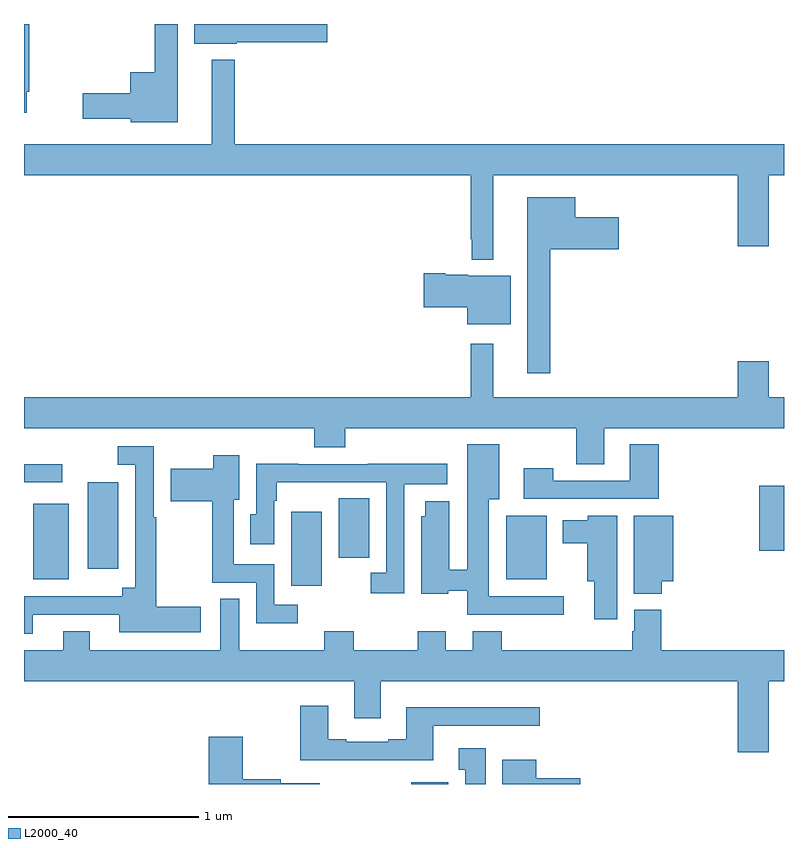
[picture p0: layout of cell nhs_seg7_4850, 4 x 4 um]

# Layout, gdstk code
import gdstk
lib = gdstk.Library(unit=1e-6, precision=1e-09)
def R(c, l, rs):  # rectangles x0, y0, x1, y1
    for r in rs: c.add(gdstk.rectangle(r[:2], r[2:], *l))
def P(c, l, *ps):  # polygons
    for p in ps: c.add(gdstk.Polygon(p, *l))
L2000_40 = (2000, 40)

nhs_seg7_4850 = lib.new_cell('nhs_seg7_4850')
R(nhs_seg7_4850, L2000_40, [(415.037,1076,415.234,1076.008), (414.407,1077.044,414.568,1077.433), (413.048,1077.077,413.236,1077.475), (415.538,1077.077,415.75,1077.412), (413.336,1077.132,413.497,1077.589), (414.656,1077.192,414.817,1077.503), (416.87,1077.227,417,1077.571), (413,1077.588,413.2,1077.684)])
P(nhs_seg7_4850, L2000_40, [(413.809,1080),(413.688,1080),(413.688,1079.746),(413.558,1079.746),(413.558,1079.636),(413.31,1079.636),(413.31,1079.501),(413.562,1079.501),(413.562,1079.483),(413.809,1079.483)],
  [(413.014,1079.644),(413.027,1079.644),(413.027,1080),(413,1080),(413,1079.532),(413.014,1079.532)],
  [(414.12,1079.903),(414.595,1079.903),(414.595,1080),(413.897,1080),(413.897,1079.897),(414.12,1079.897)],
  [(415.471,1079.204),(416.756,1079.204),(416.756,1078.83),(416.92,1078.83),(416.92,1079.204),(417,1079.204),(417,1079.368),(414.109,1079.368),(414.109,1079.812),(413.987,1079.812),(413.987,1079.368),(413,1079.368),(413,1079.204),(415.35,1079.204),(415.35,1078.867),(415.357,1078.867),(415.357,1078.76),(415.471,1078.76)],
  [(415.771,1078.814),(416.131,1078.814),(416.131,1078.984),(415.9,1078.984),(415.9,1079.089),(415.649,1079.089),(415.649,1078.161),(415.771,1078.161)],
  [(415.561,1078.675),(415.338,1078.675),(415.338,1078.681),(415.216,1078.681),(415.216,1078.688),(415.104,1078.688),(415.104,1078.51),(415.334,1078.51),(415.334,1078.421),(415.561,1078.421)],
  [(416.053,1077.872),(417,1077.872),(417,1078.036),(416.92,1078.036),(416.92,1078.225),(416.756,1078.225),(416.756,1078.036),(415.471,1078.036),(415.471,1078.318),(415.35,1078.318),(415.35,1078.036),(413,1078.036),(413,1077.872),(414.527,1077.872),(414.527,1077.773),(414.692,1077.773),(414.692,1077.872),(415.906,1077.872),(415.906,1077.682),(416.053,1077.682)],
  [(416.342,1077.787),(416.189,1077.787),(416.189,1077.597),(415.785,1077.597),(415.785,1077.661),(415.629,1077.661),(415.629,1077.501),(416.342,1077.501)],
  [(415.84,1076.988),(415.447,1076.988),(415.447,1077.5),(415.501,1077.5),(415.501,1077.787),(415.334,1077.787),(415.334,1077.127),(415.237,1077.127),(415.237,1077.487),(415.112,1077.487),(415.112,1077.408),(415.091,1077.408),(415.091,1077.002),(415.233,1077.002),(415.233,1077.017),(415.334,1077.017),(415.334,1076.891),(415.84,1076.891)],
  [(413.047,1076.892),(413.501,1076.892),(413.501,1076.798),(413.929,1076.798),(413.929,1076.933),(413.695,1076.933),(413.695,1077.404),(413.682,1077.404),(413.682,1077.777),(413.493,1077.777),(413.493,1077.681),(413.586,1077.681),(413.586,1077.034),(413.516,1077.034),(413.516,1076.988),(413,1076.988),(413,1076.79),(413.047,1076.79)],
  [(414.442,1076.943),(414.318,1076.943),(414.318,1077.156),(414.103,1077.156),(414.103,1077.497),(414.133,1077.497),(414.133,1077.73),(413.995,1077.73),(413.995,1077.658),(413.772,1077.658),(413.772,1077.488),(413.992,1077.488),(413.992,1077.06),(414.222,1077.06),(414.222,1076.846),(414.442,1076.846)],
  [(415.002,1077.578),(415.228,1077.578),(415.228,1077.686),(414.809,1077.686),(414.809,1077.684),(414.443,1077.684),(414.443,1077.686),(414.222,1077.686),(414.222,1077.42),(414.191,1077.42),(414.191,1077.261),(414.318,1077.261),(414.318,1077.491),(414.331,1077.491),(414.331,1077.587),(414.56,1077.587),(414.56,1077.588),(414.906,1077.588),(414.906,1077.111),(414.825,1077.111),(414.825,1077.003),(415.002,1077.003)],
  [(416.357,1077.068),(416.416,1077.068),(416.416,1077.412),(416.21,1077.412),(416.21,1077.001),(416.357,1077.001)],
  [(416.122,1077.412),(415.968,1077.412),(415.968,1077.388),(415.835,1077.388),(415.835,1077.266),(415.964,1077.266),(415.964,1077.068),(416,1077.068),(416,1076.868),(416.122,1076.868)],
  [(416.92,1076.54),(417,1076.54),(417,1076.704),(416.354,1076.704),(416.354,1076.916),(416.213,1076.916),(416.213,1076.805),(416.201,1076.805),(416.201,1076.704),(415.514,1076.704),(415.514,1076.803),(415.361,1076.803),(415.361,1076.704),(415.219,1076.704),(415.219,1076.803),(415.072,1076.803),(415.072,1076.704),(414.735,1076.704),(414.735,1076.803),(414.58,1076.803),(414.58,1076.704),(414.133,1076.704),(414.133,1076.975),(414.032,1076.975),(414.032,1076.704),(413.347,1076.704),(413.347,1076.803),(413.207,1076.803),(413.207,1076.704),(413,1076.704),(413,1076.54),(414.737,1076.54),(414.737,1076.346),(414.877,1076.346),(414.877,1076.54),(416.756,1076.54),(416.756,1076.166),(416.92,1076.166)],
  [(415.153,1076.307),(415.714,1076.307),(415.714,1076.404),(415.013,1076.404),(415.013,1076.236),(414.917,1076.236),(414.917,1076.223),(414.697,1076.223),(414.697,1076.236),(414.601,1076.236),(414.601,1076.413),(414.454,1076.413),(414.454,1076.126),(415.153,1076.126)],
  [(414.556,1076.004),(414.35,1076.004),(414.35,1076.024),(414.15,1076.024),(414.15,1076.248),(413.972,1076.248),(413.972,1076),(414.556,1076)],
  [(415.429,1076.188),(415.289,1076.188),(415.289,1076.075),(415.322,1076.075),(415.322,1076),(415.429,1076)],
  [(415.927,1076.03),(415.696,1076.03),(415.696,1076.128),(415.517,1076.128),(415.517,1076),(415.927,1076)])

lib.write_gds('nhs_seg7_4850.gds')
